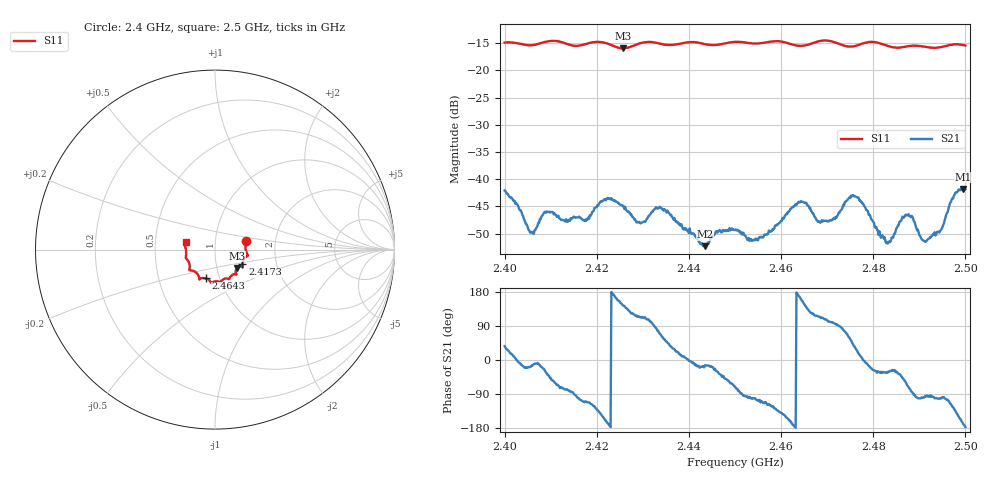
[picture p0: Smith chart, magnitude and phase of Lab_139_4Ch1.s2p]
# Hz S RI R 50
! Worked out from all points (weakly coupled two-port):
!   601 points, 2.4 GHz to 2.5 GHz, reference 50 ohm
!   highest |S21| = -41.77 dB at 2.4995 GHz (marker M1); lowest = -52.3 dB at 2.4435 GHz (marker M2)
!   lowest |S11| = -15.9 dB at 2.4257 GHz (marker M3), VSWR 1.38, Z = 62.4 - j13.1 ohm
!   |S11| at or under -10 dB: start of sweep to end of sweep
!   S12 and S22 are empty: the file has one direction only
!   S11 on the Smith chart (normalised r, x): 2.4 GHz: 1.41, +0.14; 2.4173 GHz: 1.34, -0.23; 2.4643 GHz: 0.86, -0.28; 2.5 GHz: 0.72, +0.06
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2.4e9  0.1732 0.0494  0.00635 0.00465  0 0  0 0
2.405833e9  0.17 0.00328  0.00318 -0.000832  0 0  0 0
2.409e9  0.1815 -0.0281  0.0041 -0.0027  0 0  0 0
2.416667e9  0.153 -0.0747  -0.00122 -0.00413  0 0  0 0
2.417333e9  0.1525 -0.0821  -0.0015 -0.00386  0 0  0 0
2.421833e9  0.1517 -0.0948  -0.00601 -0.0023  0 0  0 0
2.425667e9  0.1225 -0.1021  -0.00459 0.00328  0 0  0 0
2.4295e9  0.1172 -0.134  -0.00151 0.00362  0 0  0 0
2.433333e9  0.113 -0.137  0.00121 0.00526  0 0  0 0
2.4435e9  0.0664 -0.1609  0.00235 -0.000572  0 0  0 0
2.45e9  0.0297 -0.1809  0.00116 -0.0032  0 0  0 0
2.4555e9  -0.00254 -0.1777  -0.00109 -0.0027  0 0  0 0
2.464333e9  -0.0503 -0.1604  -0.00592 0.0021  0 0  0 0
2.466667e9  -0.0761 -0.1597  -0.0028 0.00419  0 0  0 0
2.470667e9  -0.0868 -0.1648  -0.00076 0.00412  0 0  0 0
2.476e9  -0.1166 -0.1199  0.00573 0.00401  0 0  0 0
2.483333e9  -0.1407 -0.0893  0.00221 -0.00138  0 0  0 0
2.487333e9  -0.1571 -0.0543  0.00192 -0.00431  0 0  0 0
2.491e9  -0.1619 -0.0344  -0.000382 -0.00269  0 0  0 0
2.494e9  -0.1619 -0.0014  -0.000652 -0.00321  0 0  0 0
2.4995e9  -0.1665 0.0391  -0.00799 -0.00162  0 0  0 0
2.5e9  -0.1637 0.0421  -0.008 -0.000441  0 0  0 0
